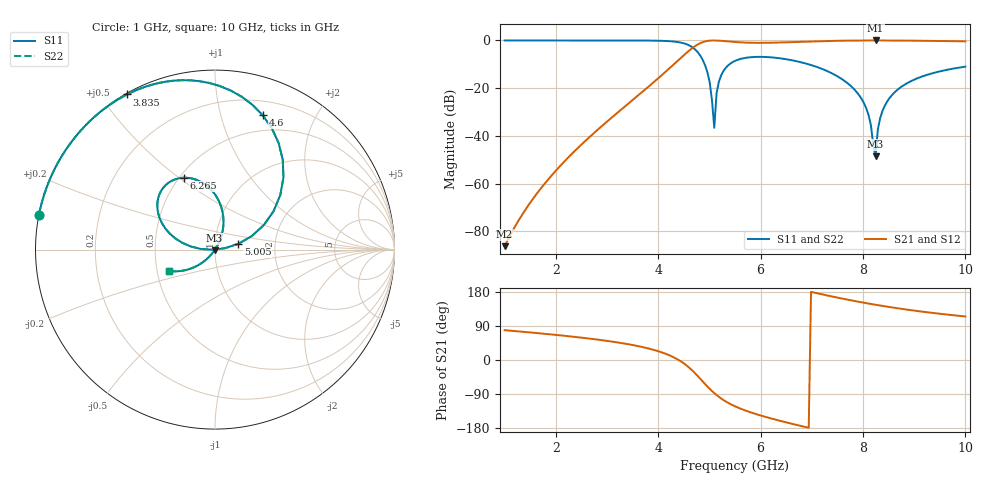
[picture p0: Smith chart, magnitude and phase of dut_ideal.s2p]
# HZ S RI R 50
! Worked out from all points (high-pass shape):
!   201 points, 1 GHz to 10 GHz, reference 50 ohm
!   highest |S21| = 0.00 dB at 8.245 GHz (marker M1); lowest = -86.2 dB at 1 GHz (marker M2)
!   |S21| within 3 dB of the highest: 4.679 GHz to end of sweep
!   lowest |S11| = -48.5 dB at 8.245 GHz (marker M3), VSWR 1.01, Z = 49.8 - j0.308 ohm
!   |S11| at or under -10 dB: 4.907 GHz to 5.391 GHz (483.3 MHz wide, 9.39 % of centre); 6.939 GHz to end of sweep
!   |S22| runs from -48.5 to 0.0 dB; largest |S21 - S12| = 0
!   S11 on the Smith chart (normalised r, x): 1 GHz: 0.00, +0.10; 3.835 GHz: 0.00, +0.58; 4.6 GHz: 0.34, +1.36; 5.005 GHz: 1.30, +0.09; 6.265 GHz: 0.53, +0.52; 10 GHz: 0.58, -0.15
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1e9  -0.9807 0.1955  9.58e-06 4.81e-05  9.58e-06 4.81e-05  -0.9807 0.1955
1.135e9  -0.9749 0.2224  2.09e-05 9.14e-05  2.09e-05 9.14e-05  -0.9749 0.2224
2.53e9  -0.8532 0.5216  0.00368 0.00602  0.00368 0.00602  -0.8532 0.5216
3.835e9  -0.4902 0.8642  0.0986 0.0559  0.0986 0.0559  -0.4902 0.8642
4.015e9  -0.379 0.9103  0.1536 0.064  0.1536 0.064  -0.379 0.9103
4.6e9  0.2659 0.7484  0.5726 -0.2034  0.5726 -0.2034  0.2659 0.7484
4.87e9  0.3262 0.2136  0.5044 -0.7704  0.5044 -0.7704  0.3262 0.2136
5.005e9  0.1302 0.0322  0.2382 -0.9619  0.2382 -0.9619  0.1302 0.0322
5.095e9  -0.0148 -0.000658  0.0444 -0.9989  0.0444 -0.9989  -0.0148 -0.000658
5.14e9  -0.0789 0.00355  -0.0447 -0.9959  -0.0447 -0.9959  -0.0789 0.00355
5.185e9  -0.1349 0.0173  -0.1261 -0.9826  -0.1261 -0.9826  -0.1349 0.0173
5.5e9  -0.3157 0.1986  -0.494 -0.7854  -0.494 -0.7854  -0.3157 0.1986
6.265e9  -0.1748 0.4005  -0.8244 -0.3598  -0.8244 -0.3598  -0.1748 0.4005
7.03e9  0.00826 0.2949  -0.9551 0.0267  -0.9551 0.0267  0.00826 0.2949
7.93e9  0.0314 0.0624  -0.8912 0.4482  -0.8912 0.4482  0.0314 0.0624
8.11e9  0.014 0.0232  -0.856 0.5162  -0.856 0.5162  0.014 0.0232
8.245e9  -0.00211 -0.0031  -0.8266 0.5627  -0.8266 0.5627  -0.00211 -0.0031
8.29e9  -0.00793 -0.0112  -0.8164 0.5773  -0.8164 0.5773  -0.00793 -0.0112
8.335e9  -0.0139 -0.019  -0.8059 0.5915  -0.8059 0.5915  -0.0139 -0.019
8.515e9  -0.0396 -0.0469  -0.7626 0.644  -0.7626 0.644  -0.0396 -0.0469
9.055e9  -0.1237 -0.1015  -0.626 0.7633  -0.626 0.7633  -0.1237 -0.1015
1e10  -0.2564 -0.1188  -0.4033 0.8703  -0.4033 0.8703  -0.2564 -0.1188
